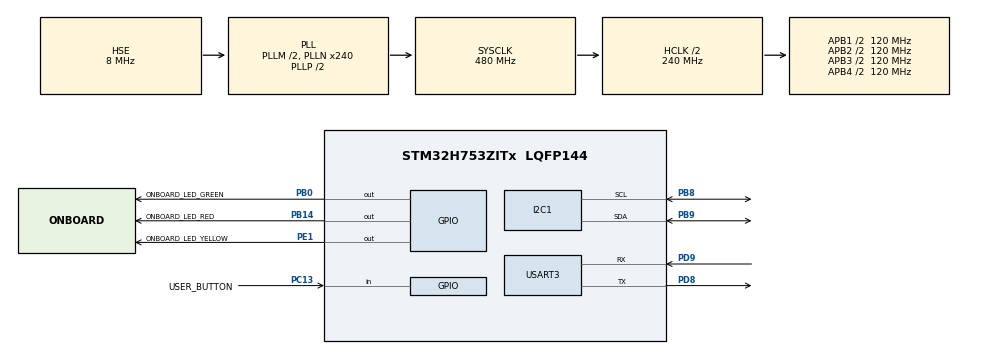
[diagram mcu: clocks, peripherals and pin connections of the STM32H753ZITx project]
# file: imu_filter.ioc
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CORTEX_M7.default_mode_Activation=1
I2C1.Timing=0x307075B1
Mcu.Family=STM32H7
Mcu.Name=STM32H753ZITx
Mcu.Package=LQFP144
NVIC.PriorityGroup=NVIC_PRIORITYGROUP_4
NVIC.TIM6_DAC_IRQn=true\:0\:0\:false\:false\:true\:true\:true\:true
PB0.GPIO_Label=ONBOARD_LED_GREEN
PB0.Signal=GPIO_Output
PB14.GPIO_Label=ONBOARD_LED_RED
PB14.Signal=GPIO_Output
PB8.GPIO_Pu=GPIO_PULLUP
PB8.Mode=I2C
PB8.Signal=I2C1_SCL
PB9.GPIO_Pu=GPIO_PULLUP
PB9.Mode=I2C
PB9.Signal=I2C1_SDA
PC13.GPIO_Label=USER_BUTTON
PC13.Signal=GPIO_Input
PD8.Mode=Asynchronous
PD8.Signal=USART3_TX
PD9.Mode=Asynchronous
PD9.Signal=USART3_RX
PE1.GPIO_Label=ONBOARD_LED_YELLOW
PE1.Signal=GPIO_Output
PH0-OSC_IN\ (PH0).Mode=HSE-External-Oscillator
PH0-OSC_IN\ (PH0).Signal=RCC_OSC_IN
PH1-OSC_OUT\ (PH1).Mode=HSE-External-Oscillator
PH1-OSC_OUT\ (PH1).Signal=RCC_OSC_OUT
ProjectManager.HeapSize=0x200
ProjectManager.StackSize=0x400
ProjectManager.TargetToolchain=CMake
RCC.ADCFreq_Value=16125000
RCC.APB1Freq_Value=120000000
RCC.APB2Freq_Value=120000000
RCC.APB3Freq_Value=120000000
RCC.APB4Freq_Value=120000000
RCC.CortexFreq_Value=480000000
RCC.D1PPRE=RCC_APB3_DIV2
RCC.D2PPRE1=RCC_APB1_DIV2
RCC.D2PPRE2=RCC_APB2_DIV2
RCC.D3PPRE=RCC_APB4_DIV2
RCC.DIVM1=2
RCC.DIVN1=240
RCC.HCLKFreq_Value=240000000
RCC.HPRE=RCC_HCLK_DIV2
RCC.HSE_VALUE=8000000
RCC.PLLFRACN=0
RCC.PLLSourceVirtual=RCC_PLLSOURCE_HSE
RCC.SYSCLKFreq_VALUE=480000000
RCC.SYSCLKSource=RCC_SYSCLKSOURCE_PLLCLK
RCC.USBFreq_Value=480000000
TIM6.Period=479
TIM6.Prescaler=4807
USART3.VirtualMode-Asynchronous=VM_ASYNC
VP_MEMORYMAP_VS_MEMORYMAP.Mode=CurAppReg
VP_TIM6_VS_ClockSourceINT.Mode=Enable_Timer
board=custom

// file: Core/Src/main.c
/* USER CODE BEGIN Header */
/**
  ******************************************************************************
  * @file           : main.c
  * @brief          : Main program body
  ******************************************************************************
  * @attention
  *
  * Copyright (c) 2025 STMicroelectronics.
  * All rights reserved.
  *
  * This software is licensed under terms that can be found in the LICENSE file
  * in the root directory of this software component.
  * If no LICENSE file comes with this software, it is provided AS-IS.
  *
  ******************************************************************************
  */
/* USER CODE END Header */
#include "main.h"

/* USER CODE BEGIN Includes */
#include <stdbool.h>
#include <stdint.h>
#include <stdio.h>
#include <string.h>
#include <math.h>
#include "stm32h7_i2c_dev.h"
#include "cfilter.h"
/* USER CODE END Includes */

/* USER CODE BEGIN PD */
#define SAMPLE_COUNT 6000
#define DT_IMU  1.0f/104.0f  // IMU sample period in seconds
/* USER CODE END PD */

I2C_HandleTypeDef hi2c1;

TIM_HandleTypeDef htim6;

UART_HandleTypeDef huart3;

/* USER CODE BEGIN PV */
volatile bool imu_lsm6dsox_data_ready = false;

uint32_t loop_cycles = 0; // Count CPU cycles in main loop

lsm6dsox_dev_t dev;
lsm6dsox_data_t lsm6dsox_data;
float quat[4] = {1.0f, 0.0f, 0.0f, 0.0f}; // Initial quaternion
float rpy[3];
/* USER CODE END PV */

void SystemClock_Config(void);
static void MPU_Config(void);
static void MX_GPIO_Init(void);
static void MX_USART3_UART_Init(void);
static void MX_I2C1_Init(void);
static void MX_TIM6_Init(void);

int main(void)
{

  /* MPU Configuration--------------------------------------------------------*/
  MPU_Config();

  /* MCU Configuration--------------------------------------------------------*/

  /* Reset of all peripherals, Initializes the Flash interface and the Systick. */
  HAL_Init();

  /* Configure the system clock */
  SystemClock_Config();

  /* Initialize all configured peripherals */
  MX_GPIO_Init();
  MX_USART3_UART_Init();
  MX_I2C1_Init();
  MX_TIM6_Init();
  /* USER CODE BEGIN 2 */

  printf("\r\n");
  printf("========================================\r\n");
  printf("LSM6DSOX I2C Test - STM32H7\r\n");
  printf("========================================\r\n\r\n");

  // Configure IMU
  dev.handle = &hi2c1;  // Pass I2C handle
  dev.addr = LSM6DSOX_I2CADDR_DEFAULT;
  dev.read = stm32_i2c_read;
  dev.write = stm32_i2c_write;
  dev.accel_odr = LSM6DSOX_RATE_104_HZ;
  dev.accel_range = LSM6DSOX_ACCEL_RANGE_2_G;
  dev.gyro_odr = LSM6DSOX_RATE_104_HZ;
  dev.gyro_range = LSM6DSOX_GYRO_RANGE_250_DPS;

  lsm6dsox_init(&dev);

  // Enable DWT cycle counter for profiling
  CoreDebug->DEMCR |= CoreDebug_DEMCR_TRCENA_Msk;
  DWT->CYCCNT = 0;
  DWT->CTRL |= DWT_CTRL_CYCCNTENA_Msk;

  // Start IMU I2C timer
  if (HAL_TIM_Base_Start_IT(&htim6) != HAL_OK)
      Error_Handler();

  /* USER CODE END 2 */

  /* Infinite loop */
  /* USER CODE BEGIN WHILE */
  uint32_t sample_idx = 0;
  calibrate_imu(&dev, &lsm6dsox_data, 200);
  printf("Starting IMU filter test...\r\n");
  HAL_GPIO_WritePin(ONBOARD_LED_GREEN_GPIO_Port, ONBOARD_LED_GREEN_Pin, GPIO_PIN_SET);
  while (1)
  {
    // if (sample_idx >= SAMPLE_COUNT)
    //     break;
    /* USER CODE END WHILE */

    /* USER CODE BEGIN 3 */

    if (imu_lsm6dsox_data_ready) {
      // The read should go in the callback, but for timing demo this pulls
      // it out of the timed code
      lsm6dsox_read(&dev, &lsm6dsox_data);
      uint32_t start_cycles = DWT->CYCCNT; // Start cycle counter

      imu_callback();

      uint32_t end_cycles = DWT->CYCCNT;          // End cycle counter
      loop_cycles += (end_cycles - start_cycles); // Count cycles
      sample_idx++;

      // Optional: Print every 10 samples to avoid overwhelming UART

      printf("Roll: %d  Pitch: %d  Yaw: %d\r\n",
              (int)(1000 * rpy[0]*57.3f),
              (int)(1000 * rpy[1]*57.3f),
              (int)(1000 * rpy[2]*57.3f));
    }
  }

  printf("Average loop time: %d µs\r\n",
          (int)((loop_cycles / (float)sample_idx) / (SystemCoreClock / 1000000.0f)));

  HAL_GPIO_WritePin(ONBOARD_LED_GREEN_GPIO_Port, ONBOARD_LED_GREEN_Pin, GPIO_PIN_RESET);
  /* USER CODE END 3 */
}

void SystemClock_Config(void)
{
  RCC_OscInitTypeDef RCC_OscInitStruct = {0};
  RCC_ClkInitTypeDef RCC_ClkInitStruct = {0};

  /** Supply configuration update enable
  */
  HAL_PWREx_ConfigSupply(PWR_LDO_SUPPLY);

  /** Configure the main internal regulator output voltage
  */
  __HAL_PWR_VOLTAGESCALING_CONFIG(PWR_REGULATOR_VOLTAGE_SCALE0);

  while(!__HAL_PWR_GET_FLAG(PWR_FLAG_VOSRDY)) {}

  /** Initializes the RCC Oscillators according to the specified parameters
  * in the RCC_OscInitTypeDef structure.
  */
  RCC_OscInitStruct.OscillatorType = RCC_OSCILLATORTYPE_HSE;
  RCC_OscInitStruct.HSEState = RCC_HSE_ON;
  RCC_OscInitStruct.PLL.PLLState = RCC_PLL_ON;
  RCC_OscInitStruct.PLL.PLLSource = RCC_PLLSOURCE_HSE;
  RCC_OscInitStruct.PLL.PLLM = 2;
  RCC_OscInitStruct.PLL.PLLN = 240;
  RCC_OscInitStruct.PLL.PLLP = 2;
  RCC_OscInitStruct.PLL.PLLQ = 2;
  RCC_OscInitStruct.PLL.PLLR = 2;
  RCC_OscInitStruct.PLL.PLLRGE = RCC_PLL1VCIRANGE_2;
  RCC_OscInitStruct.PLL.PLLVCOSEL = RCC_PLL1VCOWIDE;
  RCC_OscInitStruct.PLL.PLLFRACN = 0;
  if (HAL_RCC_OscConfig(&RCC_OscInitStruct) != HAL_OK)
  {
    Error_Handler();
  }

  /** Initializes the CPU, AHB and APB buses clocks
  */
  RCC_ClkInitStruct.ClockType = RCC_CLOCKTYPE_HCLK|RCC_CLOCKTYPE_SYSCLK
                              |RCC_CLOCKTYPE_PCLK1|RCC_CLOCKTYPE_PCLK2
                              |RCC_CLOCKTYPE_D3PCLK1|RCC_CLOCKTYPE_D1PCLK1;
  RCC_ClkInitStruct.SYSCLKSource = RCC_SYSCLKSOURCE_PLLCLK;
  RCC_ClkInitStruct.SYSCLKDivider = RCC_SYSCLK_DIV1;
  RCC_ClkInitStruct.AHBCLKDivider = RCC_HCLK_DIV2;
  RCC_ClkInitStruct.APB3CLKDivider = RCC_APB3_DIV2;
  RCC_ClkInitStruct.APB1CLKDivider = RCC_APB1_DIV2;
  RCC_ClkInitStruct.APB2CLKDivider = RCC_APB2_DIV2;
  RCC_ClkInitStruct.APB4CLKDivider = RCC_APB4_DIV2;

  if (HAL_RCC_ClockConfig(&RCC_ClkInitStruct, FLASH_LATENCY_4) != HAL_OK)
  {
    Error_Handler();
  }
}

static void MX_I2C1_Init(void)
{

  hi2c1.Instance = I2C1;
  hi2c1.Init.Timing = 0x307075B1;
  hi2c1.Init.OwnAddress1 = 0;
  hi2c1.Init.AddressingMode = I2C_ADDRESSINGMODE_7BIT;
  hi2c1.Init.DualAddressMode = I2C_DUALADDRESS_DISABLE;
  hi2c1.Init.OwnAddress2 = 0;
  hi2c1.Init.OwnAddress2Masks = I2C_OA2_NOMASK;
  hi2c1.Init.GeneralCallMode = I2C_GENERALCALL_DISABLE;
  hi2c1.Init.NoStretchMode = I2C_NOSTRETCH_DISABLE;
  if (HAL_I2C_Init(&hi2c1) != HAL_OK)
  {
    Error_Handler();
  }

  /** Configure Analogue filter
  */
  if (HAL_I2CEx_ConfigAnalogFilter(&hi2c1, I2C_ANALOGFILTER_ENABLE) != HAL_OK)
  {
    Error_Handler();
  }

  /** Configure Digital filter
  */
  if (HAL_I2CEx_ConfigDigitalFilter(&hi2c1, 0) != HAL_OK)
  {
    Error_Handler();
  }

}

static void MX_TIM6_Init(void)
{

  TIM_MasterConfigTypeDef sMasterConfig = {0};

  htim6.Instance = TIM6;
  htim6.Init.Prescaler = 4807;
  htim6.Init.CounterMode = TIM_COUNTERMODE_UP;
  htim6.Init.Period = 479;
  htim6.Init.AutoReloadPreload = TIM_AUTORELOAD_PRELOAD_DISABLE;
  if (HAL_TIM_Base_Init(&htim6) != HAL_OK)
  {
    Error_Handler();
  }
  sMasterConfig.MasterOutputTrigger = TIM_TRGO_RESET;
  sMasterConfig.MasterSlaveMode = TIM_MASTERSLAVEMODE_DISABLE;
  if (HAL_TIMEx_MasterConfigSynchronization(&htim6, &sMasterConfig) != HAL_OK)
  {
    Error_Handler();
  }

}

static void MX_USART3_UART_Init(void)
{

  huart3.Instance = USART3;
  huart3.Init.BaudRate = 115200;
  huart3.Init.WordLength = UART_WORDLENGTH_8B;
  huart3.Init.StopBits = UART_STOPBITS_1;
  huart3.Init.Parity = UART_PARITY_NONE;
  huart3.Init.Mode = UART_MODE_TX_RX;
  huart3.Init.HwFlowCtl = UART_HWCONTROL_NONE;
  huart3.Init.OverSampling = UART_OVERSAMPLING_16;
  huart3.Init.OneBitSampling = UART_ONE_BIT_SAMPLE_DISABLE;
  huart3.Init.ClockPrescaler = UART_PRESCALER_DIV1;
  huart3.AdvancedInit.AdvFeatureInit = UART_ADVFEATURE_NO_INIT;
  if (HAL_UART_Init(&huart3) != HAL_OK)
  {
    Error_Handler();
  }
  if (HAL_UARTEx_SetTxFifoThreshold(&huart3, UART_TXFIFO_THRESHOLD_1_8) != HAL_OK)
  {
    Error_Handler();
  }
  if (HAL_UARTEx_SetRxFifoThreshold(&huart3, UART_RXFIFO_THRESHOLD_1_8) != HAL_OK)
  {
    Error_Handler();
  }
  if (HAL_UARTEx_DisableFifoMode(&huart3) != HAL_OK)
  {
    Error_Handler();
  }

}

static void MX_GPIO_Init(void)
{
  GPIO_InitTypeDef GPIO_InitStruct = {0};

  /* GPIO Ports Clock Enable */
  __HAL_RCC_GPIOC_CLK_ENABLE();
  __HAL_RCC_GPIOH_CLK_ENABLE();
  __HAL_RCC_GPIOB_CLK_ENABLE();
  __HAL_RCC_GPIOD_CLK_ENABLE();
  __HAL_RCC_GPIOE_CLK_ENABLE();

  /*Configure GPIO pin Output Level */
  HAL_GPIO_WritePin(GPIOB, ONBOARD_LED_GREEN_Pin|ONBOARD_LED_RED_Pin, GPIO_PIN_RESET);

  /*Configure GPIO pin Output Level */
  HAL_GPIO_WritePin(ONBOARD_LED_YELLOW_GPIO_Port, ONBOARD_LED_YELLOW_Pin, GPIO_PIN_RESET);

  /*Configure GPIO pin : USER_BUTTON_Pin */
  GPIO_InitStruct.Pin = USER_BUTTON_Pin;
  GPIO_InitStruct.Mode = GPIO_MODE_INPUT;
  GPIO_InitStruct.Pull = GPIO_NOPULL;
  HAL_GPIO_Init(USER_BUTTON_GPIO_Port, &GPIO_InitStruct);

  /*Configure GPIO pins : ONBOARD_LED_GREEN_Pin ONBOARD_LED_RED_Pin */
  GPIO_InitStruct.Pin = ONBOARD_LED_GREEN_Pin|ONBOARD_LED_RED_Pin;
  GPIO_InitStruct.Mode = GPIO_MODE_OUTPUT_PP;
  GPIO_InitStruct.Pull = GPIO_NOPULL;
  GPIO_InitStruct.Speed = GPIO_SPEED_FREQ_LOW;
  HAL_GPIO_Init(GPIOB, &GPIO_InitStruct);

  /*Configure GPIO pin : ONBOARD_LED_YELLOW_Pin */
  GPIO_InitStruct.Pin = ONBOARD_LED_YELLOW_Pin;
  GPIO_InitStruct.Mode = GPIO_MODE_OUTPUT_PP;
  GPIO_InitStruct.Pull = GPIO_NOPULL;
  GPIO_InitStruct.Speed = GPIO_SPEED_FREQ_LOW;
  HAL_GPIO_Init(ONBOARD_LED_YELLOW_GPIO_Port, &GPIO_InitStruct);

}

/* USER CODE BEGIN 4 */
void HAL_TIM_PeriodElapsedCallback(TIM_HandleTypeDef *htim) {
    if (htim == &htim6) {
        imu_lsm6dsox_data_ready = true;  // Signal main loop
    }
}

void imu_callback(void) {
  // The read should go in the callback, but for timing demo it's in main
  lsm6dsox_read(&dev, &lsm6dsox_data);

  // Update filter (alpha = 0.98)
  // alpha = 0 → accel only, alpha = 1 → gyro only
  cfilter(quat, lsm6dsox_data.gyro, lsm6dsox_data.accel, 0.98f, DT_IMU);
  quaternion_to_euler(quat, rpy);

  imu_lsm6dsox_data_ready = false;
}

void calibrate_imu(lsm6dsox_dev_t *dev, lsm6dsox_data_t *data, int samples)
{
    float gyro_avg[3] = {0, 0, 0};
    float accel_avg[3] = {0, 0, 0};

    printf("Starting calibration (%d samples)...\r\n", samples);

    for (int i = 0; i < samples; i++) {
        lsm6dsox_read(dev, data);
        for (int j = 0; j < 3; j++) {
            gyro_avg[j] += data->gyro[j];
            accel_avg[j] += data->accel[j];
        }

        HAL_Delay(10);

        // Show progress every 25 samples
        if ((i + 1) % 25 == 0) {
            printf("  %d%%...\r\n", ((i + 1) * 100) / samples);
        }
    }

    // Calculate averages
    for (int j = 0; j < 3; j++) {
        gyro_avg[j] /= samples;
        accel_avg[j] /= samples;
    }

    // Store biases
    for (int j = 0; j < 3; j++) {
        dev->gyro_bias[j] = gyro_avg[j];
        dev->accel_bias[j] = accel_avg[j];
    }

    // Bias Z-axis to -1g (assuming IMU is level, Z points down)
    dev->accel_bias[2] += 1.0f;

    printf("Calibration complete!\r\n");
    printf("Gyro biases: X=%d Y=%d Z=%d mdps\r\n",
           (int)(1000*gyro_avg[0]*57.3f),
           (int)(1000*gyro_avg[1]*57.3f),
           (int)(1000*gyro_avg[2]*57.3f));
    printf("Accel biases: X=%d Y=%d Z=%d mg\r\n",
           (int)(1000*accel_avg[0]),
           (int)(1000*accel_avg[1]),
           (int)(1000*accel_avg[2]));
}

/**
  * @brief  Redirect printf to UART
  */
int _write(int file, char *ptr, int len)
{
    HAL_UART_Transmit(&huart3, (uint8_t *)ptr, len, HAL_MAX_DELAY);
    return len;
}

/* USER CODE END 4 */

 /* MPU Configuration */

void MPU_Config(void)
{
  MPU_Region_InitTypeDef MPU_InitStruct = {0};

  /* Disables the MPU */
  HAL_MPU_Disable();

  /** Initializes and configures the Region and the memory to be protected
  */
  MPU_InitStruct.Enable = MPU_REGION_ENABLE;
  MPU_InitStruct.Number = MPU_REGION_NUMBER0;
  MPU_InitStruct.BaseAddress = 0x0;
  MPU_InitStruct.Size = MPU_REGION_SIZE_4GB;
  MPU_InitStruct.SubRegionDisable = 0x87;
  MPU_InitStruct.TypeExtField = MPU_TEX_LEVEL0;
  MPU_InitStruct.AccessPermission = MPU_REGION_NO_ACCESS;
  MPU_InitStruct.DisableExec = MPU_INSTRUCTION_ACCESS_DISABLE;
  MPU_InitStruct.IsShareable = MPU_ACCESS_SHAREABLE;
  MPU_InitStruct.IsCacheable = MPU_ACCESS_NOT_CACHEABLE;
  MPU_InitStruct.IsBufferable = MPU_ACCESS_NOT_BUFFERABLE;

  HAL_MPU_ConfigRegion(&MPU_InitStruct);
  /* Enables the MPU */
  HAL_MPU_Enable(MPU_PRIVILEGED_DEFAULT);

}

void Error_Handler(void)
{
  __disable_irq();
  while (1)
  {
  }
}
